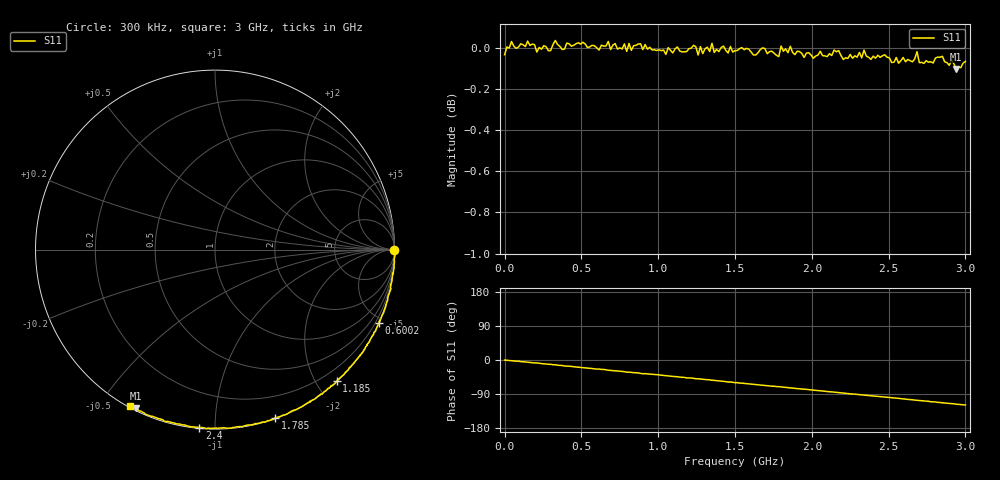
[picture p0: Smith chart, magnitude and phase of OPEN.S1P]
! HP8714ES: E.06.01
! Reflection DATA:
# MHz  S  RI  R 50.0
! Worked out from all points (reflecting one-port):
!   201 points, 300 kHz to 3 GHz, reference 50 ohm
!   lowest |S11| = -0.1 dB at 2.94 GHz (marker M1), VSWR 169.70, Z = 0.407 - j30.9 ohm
!   phase of S11 starts at -0 deg and turns -118 deg over the sweep
!   S11 on the Smith chart (normalised r, x): 300 kHz: open; 600.2 MHz: -0.00, -4.71; 1.185 GHz: 0.01, -2.28; 1.785 GHz: 0.01, -1.42; 2.4 GHz: 0.00, -0.92; 3 GHz: 0.01, -0.59
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0.3  0.9962 -0.00313
90.291  0.999 -0.0538
180.282  0.994 -0.1272
210.279  0.9889 -0.132
240.276  0.9853 -0.1662
375.262  0.9677 -0.2484
390.261  0.9616 -0.272
435.257  0.9578 -0.2907
600.24  0.9138 -0.4064
615.239  0.9134 -0.404
675.232  0.8939 -0.4563
750.225  0.8683 -0.4962
870.213  0.8293 -0.5627
900.21  0.8068 -0.5892
1125.188  0.7187 -0.6961
1185.181  0.677 -0.7332
1215.178  0.6757 -0.7369
1335.167  0.6097 -0.79
1500.15  0.5015 -0.8634
1515.149  0.5035 -0.8623
1785.121  0.3342 -0.9373
1890.111  0.2607 -0.9615
2250.075  0.0142 -0.9963
2400.06  -0.0876 -0.9915
2640.036  -0.2461 -0.9619
2805.019  -0.3511 -0.9303
2940.006  -0.4421 -0.8839
3000  -0.4759 -0.8709
